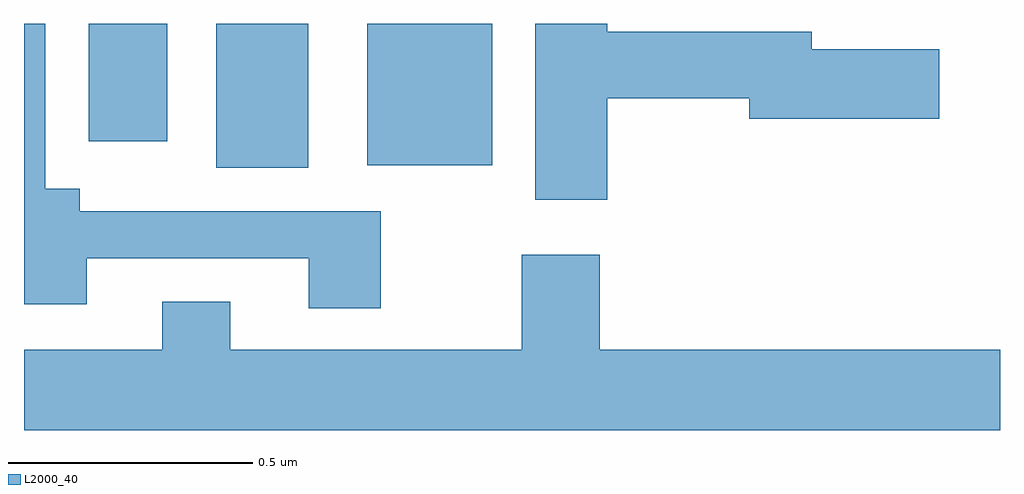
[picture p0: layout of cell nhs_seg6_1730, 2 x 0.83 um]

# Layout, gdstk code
import gdstk
lib = gdstk.Library(unit=1e-6, precision=1e-09)
def R(c, l, rs):  # rectangles x0, y0, x1, y1
    for r in rs: c.add(gdstk.rectangle(r[:2], r[2:], *l))
def P(c, l, *ps):  # polygons
    for p in ps: c.add(gdstk.Polygon(p, *l))
L2000_40 = (2000, 40)

nhs_seg6_1730 = lib.new_cell('nhs_seg6_1730')
R(nhs_seg6_1730, L2000_40, [(133.394,949.205,133.582,949.5), (133.703,949.211,133.96,949.5), (133.133,949.26,133.294,949.5)])
P(nhs_seg6_1730, L2000_40, [(133.731,949.116),(133.114,949.116),(133.114,949.162),(133.044,949.162),(133.044,949.5),(133,949.5),(133,948.926),(133.129,948.926),(133.129,949.02),(133.583,949.02),(133.583,948.918),(133.731,948.918)],
  [(134.195,949.348),(134.486,949.348),(134.486,949.306),(134.875,949.306),(134.875,949.448),(134.614,949.448),(134.614,949.484),(134.195,949.484),(134.195,949.5),(134.048,949.5),(134.048,949.14),(134.195,949.14)],
  [(135,948.832),(134.18,948.832),(134.18,949.027),(134.02,949.027),(134.02,948.832),(133.423,948.832),(133.423,948.931),(133.283,948.931),(133.283,948.832),(133,948.832),(133,948.668),(135,948.668)])

lib.write_gds('nhs_seg6_1730.gds')
